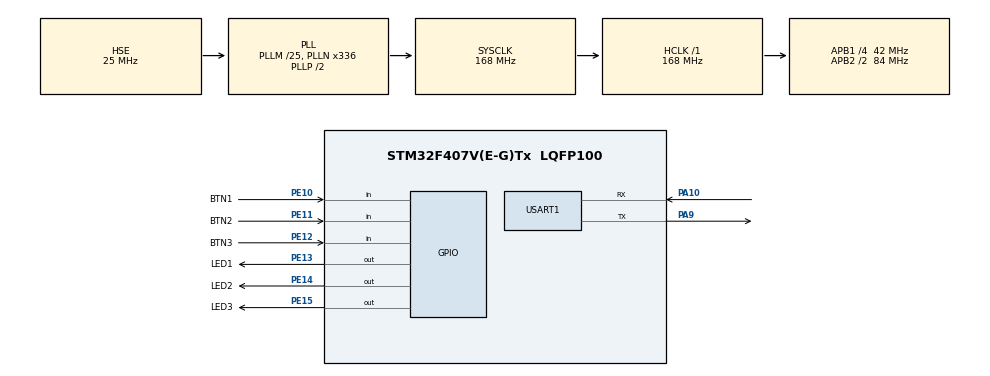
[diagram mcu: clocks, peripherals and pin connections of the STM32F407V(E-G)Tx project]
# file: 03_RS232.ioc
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Mcu.Family=STM32F4
Mcu.Name=STM32F407V(E-G)Tx
Mcu.Package=LQFP100
NVIC.PriorityGroup=NVIC_PRIORITYGROUP_4
NVIC.USART1_IRQn=true\:0\:0\:false\:false\:true\:true\:true\:true
PA10.Mode=Asynchronous
PA10.Signal=USART1_RX
PA13.Mode=JTAG_5_pins
PA13.Signal=SYS_JTMS-SWDIO
PA14.Mode=JTAG_5_pins
PA14.Signal=SYS_JTCK-SWCLK
PA15.Mode=JTAG_5_pins
PA15.Signal=SYS_JTDI
PA9.Mode=Asynchronous
PA9.Signal=USART1_TX
PB3.Mode=JTAG_5_pins
PB3.Signal=SYS_JTDO-SWO
PB4.Mode=JTAG_5_pins
PB4.Signal=SYS_JTRST
PC14-OSC32_IN.Mode=LSE-External-Oscillator
PC14-OSC32_IN.Signal=RCC_OSC32_IN
PC15-OSC32_OUT.Mode=LSE-External-Oscillator
PC15-OSC32_OUT.Signal=RCC_OSC32_OUT
PE10.GPIO_Label=BTN1
PE10.Signal=GPIO_Input
PE11.GPIO_Label=BTN2
PE11.Signal=GPIO_Input
PE12.GPIO_Label=BTN3
PE12.Signal=GPIO_Input
PE13.GPIO_Label=LED1
PE13.PinState=GPIO_PIN_SET
PE13.Signal=GPIO_Output
PE14.GPIO_Label=LED2
PE14.PinState=GPIO_PIN_SET
PE14.Signal=GPIO_Output
PE15.GPIO_Label=LED3
PE15.PinState=GPIO_PIN_SET
PE15.Signal=GPIO_Output
PH0-OSC_IN.Mode=HSE-External-Oscillator
PH0-OSC_IN.Signal=RCC_OSC_IN
PH1-OSC_OUT.Mode=HSE-External-Oscillator
PH1-OSC_OUT.Signal=RCC_OSC_OUT
ProjectManager.HeapSize=0x200
ProjectManager.StackSize=0x400
ProjectManager.TargetToolchain=STM32CubeIDE
RCC.48MHZClocksFreq_Value=84000000
RCC.AHBFreq_Value=168000000
RCC.APB1CLKDivider=RCC_HCLK_DIV4
RCC.APB1Freq_Value=42000000
RCC.APB1TimFreq_Value=84000000
RCC.APB2CLKDivider=RCC_HCLK_DIV2
RCC.APB2Freq_Value=84000000
RCC.APB2TimFreq_Value=168000000
RCC.CortexFreq_Value=168000000
RCC.HCLKFreq_Value=168000000
RCC.HSE_VALUE=25000000
RCC.HSI_VALUE=16000000
RCC.PLLM=25
RCC.PLLN=336
RCC.PLLSourceVirtual=RCC_PLLSOURCE_HSE
RCC.SYSCLKFreq_VALUE=168000000
RCC.SYSCLKSource=RCC_SYSCLKSOURCE_PLLCLK
RCC.VCOOutputFreq_Value=336000000
USART1.VirtualMode=VM_ASYNC
board=custom

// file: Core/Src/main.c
/* USER CODE BEGIN Header */
/**
  ******************************************************************************
  * @file           : main.c
  * @brief          : Main program body
  ******************************************************************************
  * @attention
  *
  * Copyright (c) 2025 STMicroelectronics.
  * All rights reserved.
  *
  * This software is licensed under terms that can be found in the LICENSE file
  * in the root directory of this software component.
  * If no LICENSE file comes with this software, it is provided AS-IS.
  *
  ******************************************************************************
  */
/* USER CODE END Header */
#include "main.h"
#include "usart.h"
#include "gpio.h"

/* USER CODE BEGIN Includes */
#include <stdio.h>
/* USER CODE END Includes */

/* USER CODE BEGIN PV */
extern UART_HandleTypeDef huart1;
/* USER CODE END PV */

void SystemClock_Config(void);

/* USER CODE BEGIN 0 */
int __io_putchar(int ch)
{
  if(HAL_UART_Transmit(&huart1, (uint8_t *)&ch, 1, 10) != HAL_OK)
  {
    return -1;
  }
  return ch;
}

uint8_t rxbuf;
void HAL_UART_RxCpltCallback(UART_HandleTypeDef *huart)
{
  if (huart->Instance == USART1)
  {
    // to UART1
    HAL_UART_Transmit(huart, (uint8_t *)&rxbuf, 1, 10);
    HAL_UART_Receive_IT(huart, &rxbuf, 1);
  }
}
/* USER CODE END 0 */

int main(void)
{

  /* MCU Configuration--------------------------------------------------------*/

  /* Reset of all peripherals, Initializes the Flash interface and the Systick. */
  HAL_Init();

  /* Configure the system clock */
  SystemClock_Config();

  /* Initialize all configured peripherals */
  MX_GPIO_Init();
  MX_USART1_UART_Init();

  /* USER CODE BEGIN 2 */
  uint8_t cnt=0;
  HAL_UART_Receive_IT(&huart1, &rxbuf, 1);
  printf("Hello RS232(PA9, PA10)\r\n");
  /* USER CODE END 2 */

  /* Infinite loop */
  /* USER CODE BEGIN WHILE */

  while (1)
  {
    printf("counter %d\r\n", cnt++);
    HAL_Delay(1000);

    /* USER CODE END WHILE */

  }
}

void SystemClock_Config(void)
{
  RCC_OscInitTypeDef RCC_OscInitStruct = {0};
  RCC_ClkInitTypeDef RCC_ClkInitStruct = {0};

  /** Configure the main internal regulator output voltage
  */
  __HAL_RCC_PWR_CLK_ENABLE();
  __HAL_PWR_VOLTAGESCALING_CONFIG(PWR_REGULATOR_VOLTAGE_SCALE1);

  /** Initializes the RCC Oscillators according to the specified parameters
  * in the RCC_OscInitTypeDef structure.
  */
  RCC_OscInitStruct.OscillatorType = RCC_OSCILLATORTYPE_HSE;
  RCC_OscInitStruct.HSEState = RCC_HSE_ON;
  RCC_OscInitStruct.PLL.PLLState = RCC_PLL_ON;
  RCC_OscInitStruct.PLL.PLLSource = RCC_PLLSOURCE_HSE;
  RCC_OscInitStruct.PLL.PLLM = 25;
  RCC_OscInitStruct.PLL.PLLN = 336;
  RCC_OscInitStruct.PLL.PLLP = RCC_PLLP_DIV2;
  RCC_OscInitStruct.PLL.PLLQ = 4;
  if (HAL_RCC_OscConfig(&RCC_OscInitStruct) != HAL_OK)
  {
    Error_Handler();
  }

  /** Initializes the CPU, AHB and APB buses clocks
  */
  RCC_ClkInitStruct.ClockType = RCC_CLOCKTYPE_HCLK|RCC_CLOCKTYPE_SYSCLK
                              |RCC_CLOCKTYPE_PCLK1|RCC_CLOCKTYPE_PCLK2;
  RCC_ClkInitStruct.SYSCLKSource = RCC_SYSCLKSOURCE_PLLCLK;
  RCC_ClkInitStruct.AHBCLKDivider = RCC_SYSCLK_DIV1;
  RCC_ClkInitStruct.APB1CLKDivider = RCC_HCLK_DIV4;
  RCC_ClkInitStruct.APB2CLKDivider = RCC_HCLK_DIV2;

  if (HAL_RCC_ClockConfig(&RCC_ClkInitStruct, FLASH_LATENCY_5) != HAL_OK)
  {
    Error_Handler();
  }
}

void Error_Handler(void)
{
  __disable_irq();
  while (1)
  {
  }
}
